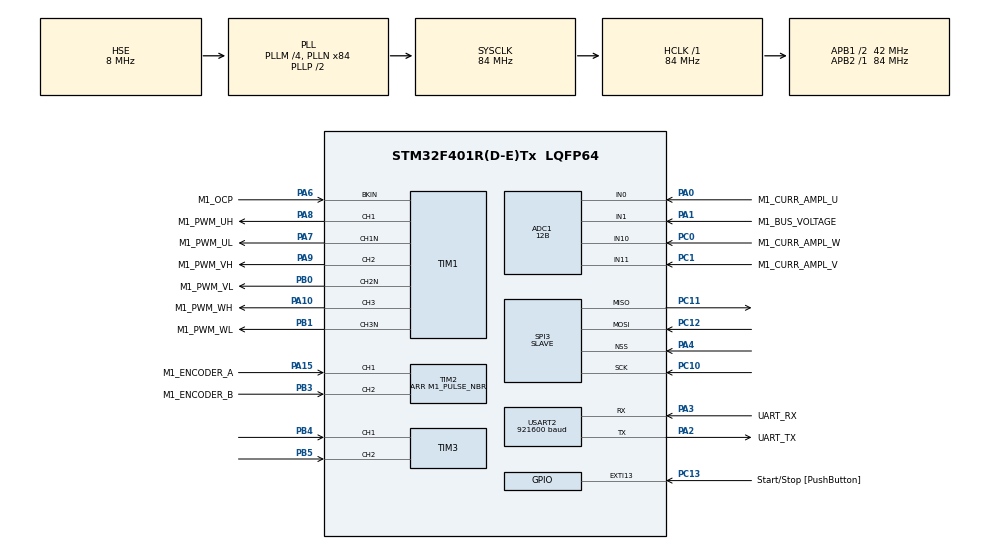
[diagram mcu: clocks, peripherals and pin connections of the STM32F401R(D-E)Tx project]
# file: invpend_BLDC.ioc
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ADC1.Channel-1\#ChannelInjectedConversion=ADC_CHANNEL_0
ADC1.Channel-1\#ChannelRegularConversion=ADC_CHANNEL_1
ADC1.Channel-2\#ChannelInjectedConversion=ADC_CHANNEL_11
ADC1.Channel-3\#ChannelInjectedConversion=ADC_CHANNEL_10
ADC1.ClockPrescaler=ADC_CLOCK_SYNC_PCLK_DIV4
ADC1.ContinuousConvMode=DISABLE
ADC1.DMAContinuousRequests=DISABLE
ADC1.DataAlign=ADC_DATAALIGN_LEFT
ADC1.DiscontinuousConvMode=DISABLE
ADC1.EOCSelection=ADC_EOC_SINGLE_CONV
ADC1.EnableAnalogWatchDog=false
ADC1.EnableInjectedConversion=ENABLE
ADC1.EnableRegularConversion=ENABLE
ADC1.ExternalTrigConv=ADC_SOFTWARE_START
ADC1.ExternalTrigConvEdge=ADC_EXTERNALTRIGCONVEDGE_NONE
ADC1.ExternalTrigInjecConv=ADC_EXTERNALTRIGINJECCONV_T1_CC4
ADC1.ExternalTrigInjecConvEdge=ADC_EXTERNALTRIGINJECCONVEDGE_RISING
ADC1.InjNumberOfConversion=3
ADC1.InjectedConvMode=None
ADC1.InjectedOffset-1\#ChannelInjectedConversion=0
ADC1.InjectedOffset-2\#ChannelInjectedConversion=0
ADC1.InjectedOffset-3\#ChannelInjectedConversion=0
ADC1.InjectedRank-1\#ChannelInjectedConversion=1
ADC1.InjectedRank-2\#ChannelInjectedConversion=2
ADC1.InjectedRank-3\#ChannelInjectedConversion=3
ADC1.NbrOfConversion=1
ADC1.NbrOfConversionFlag=1
ADC1.Offset-1\#ChannelRegularConversion=0
ADC1.OffsetNumber-1\#ChannelRegularConversion=ADC_OFFSET_NONE
ADC1.Rank-1\#ChannelRegularConversion=1
ADC1.Resolution=ADC_RESOLUTION_12B
ADC1.SamplingTime-1\#ChannelInjectedConversion=ADC_SAMPLETIME_15CYCLES
ADC1.SamplingTime-1\#ChannelRegularConversion=ADC_SAMPLETIME_28CYCLES
ADC1.SamplingTime-2\#ChannelInjectedConversion=ADC_SAMPLETIME_15CYCLES
ADC1.SamplingTime-3\#ChannelInjectedConversion=ADC_SAMPLETIME_15CYCLES
ADC1.ScanConvMode=ENABLE
ADC1.master=1
Dma.Request0=USART2_RX
Dma.Request1=USART2_TX
Dma.Request2=SPI3_RX
Dma.Request3=SPI3_TX
Dma.SPI3_RX.2.Direction=DMA_PERIPH_TO_MEMORY
Dma.SPI3_RX.2.FIFOMode=DMA_FIFOMODE_DISABLE
Dma.SPI3_RX.2.Instance=DMA1_Stream0
Dma.SPI3_RX.2.MemDataAlignment=DMA_MDATAALIGN_BYTE
Dma.SPI3_RX.2.MemInc=DMA_MINC_ENABLE
Dma.SPI3_RX.2.Mode=DMA_CIRCULAR
Dma.SPI3_RX.2.PeriphDataAlignment=DMA_PDATAALIGN_BYTE
Dma.SPI3_RX.2.PeriphInc=DMA_PINC_DISABLE
Dma.SPI3_RX.2.Priority=DMA_PRIORITY_VERY_HIGH
Dma.SPI3_TX.3.Direction=DMA_MEMORY_TO_PERIPH
Dma.SPI3_TX.3.FIFOMode=DMA_FIFOMODE_DISABLE
Dma.SPI3_TX.3.Instance=DMA1_Stream7
Dma.SPI3_TX.3.MemDataAlignment=DMA_MDATAALIGN_BYTE
Dma.SPI3_TX.3.MemInc=DMA_MINC_ENABLE
Dma.SPI3_TX.3.Mode=DMA_CIRCULAR
Dma.SPI3_TX.3.PeriphDataAlignment=DMA_PDATAALIGN_BYTE
Dma.SPI3_TX.3.PeriphInc=DMA_PINC_DISABLE
Dma.SPI3_TX.3.Priority=DMA_PRIORITY_VERY_HIGH
Dma.USART2_RX.0.Direction=DMA_PERIPH_TO_MEMORY
Dma.USART2_RX.0.FIFOMode=DMA_FIFOMODE_DISABLE
Dma.USART2_RX.0.Instance=DMA1_Stream5
Dma.USART2_RX.0.MemDataAlignment=DMA_MDATAALIGN_BYTE
Dma.USART2_RX.0.MemInc=DMA_MINC_ENABLE
Dma.USART2_RX.0.Mode=DMA_NORMAL
Dma.USART2_RX.0.PeriphDataAlignment=DMA_PDATAALIGN_BYTE
Dma.USART2_RX.0.PeriphInc=DMA_PINC_DISABLE
Dma.USART2_RX.0.Priority=DMA_PRIORITY_LOW
Dma.USART2_TX.1.Direction=DMA_MEMORY_TO_PERIPH
Dma.USART2_TX.1.FIFOMode=DMA_FIFOMODE_DISABLE
Dma.USART2_TX.1.Instance=DMA1_Stream6
Dma.USART2_TX.1.MemDataAlignment=DMA_MDATAALIGN_BYTE
Dma.USART2_TX.1.MemInc=DMA_MINC_ENABLE
Dma.USART2_TX.1.Mode=DMA_NORMAL
Dma.USART2_TX.1.PeriphDataAlignment=DMA_PDATAALIGN_BYTE
Dma.USART2_TX.1.PeriphInc=DMA_PINC_DISABLE
Dma.USART2_TX.1.Priority=DMA_PRIORITY_LOW
ExtraMW=MotorControl
ExtraMW.MotorControl.Config=MotorControl
ExtraMW.MotorControl.Mode=MotorControl
ExtraMW.MotorControl.Root=MCSDK_v6.4.1-Full/MotorControl
ExtraMW.MotorControl.Template=templates
Mcu.Family=STM32F4
Mcu.Name=STM32F401R(D-E)Tx
Mcu.Package=LQFP64
MotorControl.ADC_AHBPERIPH=RCC_AHBPeriph_ADC1
MotorControl.ADC_CLOCK_WB_DIV=1
MotorControl.ADC_PERIPH=ADC1
MotorControl.ADC_REFERENCE_VOLTAGE=3.3
MotorControl.BOARD=NUCLEO-F401RE
MotorControl.BUS_VOLTAGE_READING=true
MotorControl.CCMRAM_ENABLED=false
MotorControl.CLOCK_FREQUENCY=CPU_CLK_84_MHZ
MotorControl.CLOCK_SOURCE=EXTERNAL
MotorControl.CPU_CLK_84_MHZ=true
MotorControl.CTLBOARD_NAME=NUCLEO-F401RE
MotorControl.CUBE_MX_VER=6.16.1
MotorControl.CURRENT_READING_TOPOLOGY=THREE_SHUNT
MotorControl.CURR_SAMPLING_TIME=15
MotorControl.DBG_MCU_LOAD_MEASURE=false
MotorControl.DEBUG_DAC_FUNCTIONALITY_EN=false
MotorControl.DRIVES_NUMBER_SELECTION=SINGLEDRIVE
MotorControl.DRIVE_NUMBER=1
MotorControl.DRIVE_TYPE=FOC
MotorControl.EMERGENCY_STOP_GPIO_PIN=LL_GPIO_PIN_6
MotorControl.EMERGENCY_STOP_GPIO_PORT=GPIOA
MotorControl.ENCODER=true
MotorControl.ENCODER_AVAILABLE=true
MotorControl.ENCODER_PPR=2048
MotorControl.ENC_A_GPIO_PIN=LL_GPIO_PIN_15
MotorControl.ENC_A_GPIO_PORT=GPIOA
MotorControl.ENC_B_GPIO_PIN=LL_GPIO_PIN_3
MotorControl.ENC_B_GPIO_PORT=GPIOB
MotorControl.ENC_ICx_FILTER=59
MotorControl.ENC_INVERT_SPEED=false
MotorControl.ENC_TIMER_SELECTION=ENC_TIM2
MotorControl.ENC_USE_CH3=false
MotorControl.EXT_CLK_8_MHZ=true
MotorControl.EXT_CLOCK_FREQUENCY=EXT_CLK_8_MHZ
MotorControl.FEEDBACK_NET_FILTERING=false
MotorControl.FLASH_SIZE=512
MotorControl.HALL_SENSORS_AVAILABLE=true
MotorControl.HIGH_SIDE_IDLE_STATE=false
MotorControl.HWV_CS=ThreeShunt_AmplifiedCurrents
MotorControl.HWV_OCP=OnPowerStageOCP
MotorControl.HWV_PWM=DrivingHighAndLowSides
MotorControl.HW_COMPLEMENTED_LOW_SIDE=false
MotorControl.HW_DEAD_TIME_NS=1000
MotorControl.IPs=NVIC,RCC,SYS,MotorControl,ADC1,TIM1,TIM2,USART2,DMA
MotorControl.LOW_MEMORY_FOOTPRINT_REG=false
MotorControl.LOW_SIDE_IDLE_STATE=false
MotorControl.LOW_SIDE_SIGNALS_ENABLING=LS_PWM_TIMER
MotorControl.M1_ALIGNMENT_ANGLE_DEG=90
MotorControl.M1_ALIGNMENT_DURATION=700
MotorControl.M1_AMPLIFICATION_GAIN=5.18
MotorControl.M1_ANGC={0,0,0,0,0,0,0,0}
MotorControl.M1_AUXILIARY_SPEED_SENSOR=NONE
MotorControl.M1_BOARD_MAX_CURRENT=5
MotorControl.M1_BUS_VOLTAGE_READING=true
MotorControl.M1_COMMUTATION_STEP_TIME_BUF_SIZE=12
MotorControl.M1_CONSTANT1_D=124371
MotorControl.M1_CONSTANT1_Q=124371
MotorControl.M1_CONSTANT2_QD=9357
MotorControl.M1_CS_ADC_NUM=1
MotorControl.M1_CS_ADC_PHASE_SHARED=NONE
MotorControl.M1_CS_ADC_U=ADC1
MotorControl.M1_CS_ADC_V=ADC1
MotorControl.M1_CS_ADC_W=ADC1
MotorControl.M1_CS_CHANNEL_U=0
MotorControl.M1_CS_CHANNEL_V=11
MotorControl.M1_CS_CHANNEL_W=10
MotorControl.M1_CURRENT_AMPLIFICATION_TOPO=EXTERNAL
MotorControl.M1_CURRENT_SENSING_TOPO=THREE_SHUNT
MotorControl.M1_CURR_SAMPLING_TIME=15
MotorControl.M1_DBG_OPEN_LOOP_ENABLE=false
MotorControl.M1_DC_CURRENT_RS_MEAS=5
MotorControl.M1_DEFAULT_CONTROL_MODE=STC_TORQUE_MODE
MotorControl.M1_DEFAULT_FLUX_COMPONENT=0
MotorControl.M1_DEFAULT_TARGET_SPEED_RPM=72
MotorControl.M1_DEFAULT_TORQUE_COMPONENT=0
MotorControl.M1_DISCONTINUOUS_PWM=false
MotorControl.M1_DP_TOPOLOGY=NONE
MotorControl.M1_DRIVE_TYPE=FOC
MotorControl.M1_ENCODER_PPR=2048
MotorControl.M1_ENC_AVERAGING_FIFO_DEPTH=16
MotorControl.M1_ENC_A_GPIO_PIN=LL_GPIO_PIN_15
MotorControl.M1_ENC_A_GPIO_PORT=GPIOA
MotorControl.M1_ENC_B_GPIO_PIN=LL_GPIO_PIN_3
MotorControl.M1_ENC_B_GPIO_PORT=GPIOB
MotorControl.M1_ENC_ICx_FILTER=59
MotorControl.M1_ENC_TIMER_IRQ=TIM2
MotorControl.M1_ENC_TIMER_SELECTION=ENC_TIM2
MotorControl.M1_ENC_USE_CH3=false
MotorControl.M1_FEED_FORWARD_CURRENT_REG_ENABLING=false
MotorControl.M1_FINAL_I_ALIGNMENT=5
MotorControl.M1_FLUX_WEAKENING_ENABLING=false
MotorControl.M1_FW_KIDIV=32768
MotorControl.M1_FW_KI_GAIN=5000
MotorControl.M1_FW_KPDIV=32768
MotorControl.M1_FW_KP_GAIN=3000
MotorControl.M1_FW_VOLTAGE_REF=985
MotorControl.M1_HALL_PHASE_SHIFT=300
MotorControl.M1_HALL_SENSORS_PLACEMENT=DEGREES_120
MotorControl.M1_HIGH_SIDE_IDLE_STATE=false
MotorControl.M1_HW_DEAD_TIME_NS=1000
MotorControl.M1_ICL_ENABLED=false
MotorControl.M1_ID_DEMAG=-5
MotorControl.M1_IQMAX=5
MotorControl.M1_LDLQ_RATIO=1.000
MotorControl.M1_LOW_SIDE_IDLE_STATE=false
MotorControl.M1_LOW_SIDE_SIGNALS_ENABLING=LS_PWM_TIMER
MotorControl.M1_LS=0.00015
MotorControl.M1_MAX_APPLICATION_SPEED=200
MotorControl.M1_MAX_MODULATION_INDEX=94
MotorControl.M1_MIN_APPLICATION_SPEED=0
MotorControl.M1_MOTOR_MAX_SPEED_RPM=200
MotorControl.M1_MOTOR_NAME=MAXON Flat EC 42 M
MotorControl.M1_MOTOR_RATED_FLUX=0.018064987
MotorControl.M1_MOTOR_VOLTAGE_CONSTANT=3.0
MotorControl.M1_MTPA_ENABLING=false
MotorControl.M1_NOMINAL_BUS_VOLTAGE_V=24
MotorControl.M1_NOMINAL_CURRENT=5
MotorControl.M1_OCP_BKIN_FILTER=3
MotorControl.M1_OCP_BKIN_MODE=EXT_MODE
MotorControl.M1_OCP_BKIN_POLARITY=EMSTOP_ACTIVE_LOW
MotorControl.M1_OCP_DESTINATION=TIM_BKIN
MotorControl.M1_OCP_TOPOLOGY=EXTERNAL
MotorControl.M1_OFST={0,0,0,0,0,0,0,0}
MotorControl.M1_ON_OVER_VOLTAGE=TURN_OFF_PWM
MotorControl.M1_OVERMODULATION=false
MotorControl.M1_OVP_THRESHOLD_HIGH=29
MotorControl.M1_OV_VOLTAGE_PROT_ENABLING=true
MotorControl.M1_OV_VOLTAGE_THRESHOLD_V=29
MotorControl.M1_PID_FLUX_KD_DEFAULT=100
MotorControl.M1_PID_FLUX_KI_DEFAULT=3750
MotorControl.M1_PID_FLUX_KP_DEFAULT=2446
MotorControl.M1_PID_SPEED_KD_DEFAULT=0
MotorControl.M1_PID_SPEED_KI_DEFAULT=636
MotorControl.M1_PID_SPEED_KP_DEFAULT=3512
MotorControl.M1_PID_TORQUE_KD_DEFAULT=100
MotorControl.M1_PID_TORQUE_KI_DEFAULT=3750
MotorControl.M1_PID_TORQUE_KP_DEFAULT=2446
MotorControl.M1_POLE_PAIR_NUM=8
MotorControl.M1_POSITION_CTRL_ENABLING=false
MotorControl.M1_POTENTIOMETER_ENABLE=false
MotorControl.M1_POWERBOARD_NAME=X-NUCLEO-IHM08M1
MotorControl.M1_PWM_CHARGE_BOOT_CAP_DUTY_CYCLES=0.000
MotorControl.M1_PWM_CHARGE_BOOT_CAP_MS=10
MotorControl.M1_PWM_DRIVER_PN=L6398
MotorControl.M1_PWM_FREQUENCY=16000
MotorControl.M1_PWM_TIMER_BRK_IRQ=TIM1_BRK_TIM9
MotorControl.M1_PWM_TIMER_SELECTION=PWM_TIM1
MotorControl.M1_PWM_TIMER_UP_IRQ=TIM1_UP_TIM10
MotorControl.M1_REGULATION_EXECUTION_RATE=1
MotorControl.M1_RS=0.23
MotorControl.M1_RSHUNT=0.01
MotorControl.M1_SEGDIV=0
MotorControl.M1_SHARED_SIGNAL_ENABLE=false
MotorControl.M1_SPD_DIFFERENTIAL_TERM_ENABLING=false
MotorControl.M1_SPEED_LOOP_FREQUENCY_HZ=1000
MotorControl.M1_SPEED_SENSOR=QUAD_ENCODER
MotorControl.M1_SP_KDDIV=16
MotorControl.M1_SP_KIDIV=16384
MotorControl.M1_SP_KPDIV=128
MotorControl.M1_SS_MEAS_ERRORS_BEFORE_FAULTS=3
MotorControl.M1_SW_DEADTIME_NS=850
MotorControl.M1_TEMPERATURE_READING=false
MotorControl.M1_TF_KDDIV=8192
MotorControl.M1_TF_KIDIV=16384
MotorControl.M1_TF_KPDIV=1024
MotorControl.M1_TNOISE_NS=1000
MotorControl.M1_TRISE_NS=1000
MotorControl.M1_UD_VOLTAGE_THRESHOLD_V=10
MotorControl.M1_USE_INTERNAL_OPAMP=false
MotorControl.M1_UV_VOLTAGE_PROT_ENABLING=true
MotorControl.M1_VBUS_ADC=ADC1
MotorControl.M1_VBUS_ADC_SAMPLING_TIME=28
MotorControl.M1_VBUS_CHANNEL=ADC_CHANNEL_1
MotorControl.M1_VBUS_PARTITIONING_FACTOR=0.052164840897235255
MotorControl.MAX_READABLE_CURRENT=31.845
MotorControl.MCPA_OVER_UART_A_STREAM=10
MotorControl.MCP_ASPEP_OVER_UART=true
MotorControl.MCP_ASYNC_EN=true
MotorControl.MCP_ASYNC_OVER_ASPEP_EN=true
MotorControl.MCP_ASYNC_OVER_UART_A_EN=true
MotorControl.MCP_DMACH_RX_UART_A=5
MotorControl.MCP_DMACH_TX_UART_A=6
MotorControl.MCP_DMA_RX_UART_A=DMA1
MotorControl.MCP_DMA_TX_UART_A=DMA1
MotorControl.MCP_EN=true
MotorControl.MCP_IRQ_HANDLER_DMA_RX_UART_A=DMA1_Stream5_IRQHandler
MotorControl.MCP_IRQ_HANDLER_UART_A=USART2_IRQHandler
MotorControl.MCP_OVER_ASPEP_EN=true
MotorControl.MCP_OVER_STLNK_EN=false
MotorControl.MCP_OVER_UART_A_EN=true
MotorControl.MCP_OVER_UART_B_EN=false
MotorControl.MCP_RX_SYNC_PAYLOAD_MAX=128
MotorControl.MCP_TX_ASYNC_PAYLOAD_MAX_UART_A=2048
MotorControl.MCP_TX_SYNC_PAYLOAD_MAX=128
MotorControl.MCU=STM32F401RE
MotorControl.MCU_FAMILY=STM32F4
MotorControl.MCU_LINE=STM32F401
MotorControl.MCU_NAME=STM32F401R(D-E)Tx
MotorControl.MCU_PACKAGE=LQFP64
MotorControl.MCU_TYPE=STM32F401RE
MotorControl.MCU_USERNAME=STM32F401RETx
MotorControl.MC_WORKBENCH_VERSION=6.4.1
MotorControl.MOTOR_PROFILER=false
MotorControl.MOTOR_TYPE=PMSM
MotorControl.ON_OVER_VOLTAGE=TURN_OFF_PWM
MotorControl.OV_VOLTAGE_PROT_ENABLING=true
MotorControl.PHASE_UH_GPIO_PIN=LL_GPIO_PIN_8
MotorControl.PHASE_UH_GPIO_PORT=GPIOA
MotorControl.PHASE_UH_POLARITY=H_ACTIVE_HIGH
MotorControl.PHASE_UL_GPIO_PIN=LL_GPIO_PIN_7
MotorControl.PHASE_UL_GPIO_PORT=GPIOA
MotorControl.PHASE_UL_POLARITY=L_ACTIVE_LOW
MotorControl.PHASE_U_CURR_ADC=ADC1
MotorControl.PHASE_U_CURR_CHANNEL=ADC_CHANNEL_0
MotorControl.PHASE_U_GPIO_PIN=LL_GPIO_PIN_0
MotorControl.PHASE_U_GPIO_PORT=GPIOA
MotorControl.PHASE_U_PWM_CHANNEL=TIM_Channel_1
MotorControl.PHASE_VH_GPIO_PIN=LL_GPIO_PIN_9
MotorControl.PHASE_VH_GPIO_PORT=GPIOA
MotorControl.PHASE_VH_POLARITY=H_ACTIVE_HIGH
MotorControl.PHASE_VL_GPIO_PIN=LL_GPIO_PIN_0
MotorControl.PHASE_VL_GPIO_PORT=GPIOB
MotorControl.PHASE_VL_POLARITY=L_ACTIVE_LOW
MotorControl.PHASE_V_CURR_ADC=ADC1
MotorControl.PHASE_V_CURR_CHANNEL=ADC_CHANNEL_11
MotorControl.PHASE_V_GPIO_PIN=LL_GPIO_PIN_1
MotorControl.PHASE_V_GPIO_PORT=GPIOC
MotorControl.PHASE_V_PWM_CHANNEL=TIM_Channel_2
MotorControl.PHASE_WH_GPIO_PIN=LL_GPIO_PIN_10
MotorControl.PHASE_WH_GPIO_PORT=GPIOA
MotorControl.PHASE_WH_POLARITY=H_ACTIVE_HIGH
MotorControl.PHASE_WL_GPIO_PIN=LL_GPIO_PIN_1
MotorControl.PHASE_WL_GPIO_PORT=GPIOB
MotorControl.PHASE_WL_POLARITY=L_ACTIVE_LOW
MotorControl.PHASE_W_CURR_ADC=ADC1
MotorControl.PHASE_W_CURR_CHANNEL=ADC_CHANNEL_10
MotorControl.PHASE_W_GPIO_PIN=LL_GPIO_PIN_0
MotorControl.PHASE_W_GPIO_PORT=GPIOC
MotorControl.PHASE_W_PWM_CHANNEL=TIM_Channel_3
MotorControl.POTENTIOMETER_READING=false
MotorControl.PWM_FREQUENCY=16000
MotorControl.PWM_TIMER_SELECTION=PWM_TIM1
MotorControl.REGULATION_EXECUTION_RATE=1
MotorControl.RTOS=NONE
MotorControl.R_BRAKE_SWITCH_OFF_THRES_V=23
MotorControl.SINGLEDRIVE=true
MotorControl.SPD_DIFFERENTIAL_TERM_ENABLING=false
MotorControl.SPEED_SENSOR_SELECTION=ENCODER
MotorControl.START_STOP_BTN=true
MotorControl.START_STOP_GPIO_IRQ=EXTI15_10
MotorControl.START_STOP_GPIO_PIN=LL_GPIO_PIN_13
MotorControl.START_STOP_GPIO_PORT=GPIOC
MotorControl.START_STOP_POLARITY=DIN_ACTIVE_LOW
MotorControl.START_STOP_POLARITY_EDGE=GPIO_NOPULL
MotorControl.STM32F401RE=true
MotorControl.SW_DEADTIME_NS=850
MotorControl.TEMPERATURE_READING=false
MotorControl.TFDIFFERENTIAL_TERM_ENABLING=false
MotorControl.THREE_SHUNT=true
MotorControl.TRISE_NS=1000
MotorControl.USART_RX_GPIO_PIN=LL_GPIO_PIN_3
MotorControl.USART_RX_GPIO_PORT=GPIOA
MotorControl.USART_SELECTION=USE_USART2
MotorControl.USART_SELECTION_A=USART2
MotorControl.USART_SPEED=921600
MotorControl.USART_TX_GPIO_PIN=LL_GPIO_PIN_2
MotorControl.USART_TX_GPIO_PORT=GPIOA
MotorControl.USE_3OPAMPS=false
MotorControl.USE_INTERNAL_OPAMP=false
MotorControl.UV_VOLTAGE_PROT_ENABLING=true
MotorControl.VBUS_ADC=ADC1
MotorControl.VBUS_ADC_SAMPLING_TIME=28
MotorControl.VBUS_CHANNEL=ADC_CHANNEL_1
MotorControl.VBUS_GPIO_PIN=LL_GPIO_PIN_1
MotorControl.VBUS_GPIO_PORT=GPIOA
MotorControl.WB_MX_HEAPSIZE=0x200
MotorControl.WB_MX_STACKSIZE=0x400
MotorControl.WB_MX_TRUSTZONE_AVAILABLE=false
MotorControl.WB_UI_CUTOFF_FREQUENCY=6000
MotorControl.WB_UI_ENCODER_HAS_INDEX_PIN=false
MotorControl.WB_UI_FLUX_TARGET=0
MotorControl.WB_UI_FRICTION=12.2
MotorControl.WB_UI_INERTIA=8.62
MotorControl.WB_UI_MAGNETIC_STRUCTURE=SM-PMSM
MotorControl.WB_UI_MAX_CURRENT=5
MotorControl.WB_UI_MAX_NOMINAL_DC_VOLTAGE=24
MotorControl.WB_UI_MAX_PWMFREQUENCY=100000
MotorControl.WB_UI_MOTOR_DESCRIPTION=brushless DC motor with encoder
MotorControl.WB_UI_OCP_DISABLING_ENABLE=false
MotorControl.WB_UI_OCP_THRESHOLD=30
MotorControl.WB_UI_PW_BOARD_MAX_RATED_CURRENT=30
MotorControl.WB_UI_PW_BOARD_MAX_VOLTAGE=48
MotorControl.WB_UI_PW_BOARD_MIN_VOLTAGE=10
MotorControl.WB_UI_VPOL=1.71
MotorControl.WB_to_Mx_template_version=25-05-06
MotorControl.WB_to_Mx_version=6.4.1-RC1-Full
NVIC.ADC_IRQn=true\:2\:0\:true\:true\:false\:3\:false\:true\:true
NVIC.DMA1_Stream0_IRQn=true\:0\:0\:false\:false\:true\:true\:true\:true
NVIC.DMA1_Stream5_IRQn=true\:3\:0\:true\:true\:false\:2\:true\:true\:true
NVIC.DMA1_Stream7_IRQn=true\:0\:0\:false\:false\:true\:true\:true\:true
NVIC.EXTI15_10_IRQn=true\:3\:0\:false\:true\:false\:7\:true\:true\:true
NVIC.PriorityGroup=NVIC_PRIORITYGROUP_3
NVIC.TIM1_BRK_TIM9_IRQn=true\:4\:1\:false\:true\:false\:5\:true\:true\:true
NVIC.TIM1_UP_TIM10_IRQn=true\:0\:0\:false\:true\:false\:4\:true\:true\:true
NVIC.TIM2_IRQn=true\:3\:0\:false\:true\:false\:6\:true\:true\:true
NVIC.USART2_IRQn=true\:3\:1\:true\:true\:false\:1\:true\:true\:true
PA0-WKUP.GPIO_Label=M1_CURR_AMPL_U
PA0-WKUP.Signal=ADCx_IN0
PA1.GPIO_Label=M1_BUS_VOLTAGE
PA1.Signal=ADCx_IN1
PA10.GPIO_Label=M1_PWM_WH
PA10.GPIO_PuPd=GPIO_PULLDOWN
PA10.GPIO_Speed=GPIO_SPEED_FREQ_HIGH
PA10.Signal=S_TIM1_CH3
PA15.GPIO_Label=M1_ENCODER_A
PA15.Signal=S_TIM2_CH1_ETR
PA2.GPIO_Label=UART_TX
PA2.GPIO_Mode=GPIO_MODE_AF_PP
PA2.GPIO_PuPd=GPIO_NOPULL
PA2.GPIO_Speed=GPIO_SPEED_FREQ_LOW
PA2.Mode=Asynchronous
PA2.Signal=USART2_TX
PA3.GPIO_Label=UART_RX
PA3.GPIO_Mode=GPIO_MODE_AF_PP
PA3.GPIO_PuPd=GPIO_NOPULL
PA3.GPIO_Speed=GPIO_SPEED_FREQ_LOW
PA3.Mode=Asynchronous
PA3.Signal=USART2_RX
PA4.Mode=NSS_Signal_Hard_Input
PA4.Signal=SPI3_NSS
PA6.GPIO_Label=M1_OCP
PA6.GPIO_PuPd=GPIO_PULLUP
PA6.Mode=Activate-Break-Input
PA6.Signal=TIM1_BKIN
PA7.GPIO_Label=M1_PWM_UL
PA7.GPIO_PuPd=GPIO_PULLUP
PA7.GPIO_Speed=GPIO_SPEED_FREQ_HIGH
PA7.Mode=PWM Generation1 CH1 CH1N
PA7.Signal=TIM1_CH1N
PA8.GPIO_Label=M1_PWM_UH
PA8.GPIO_PuPd=GPIO_PULLDOWN
PA8.GPIO_Speed=GPIO_SPEED_FREQ_HIGH
PA8.Signal=S_TIM1_CH1
PA9.GPIO_Label=M1_PWM_VH
PA9.GPIO_PuPd=GPIO_PULLDOWN
PA9.GPIO_Speed=GPIO_SPEED_FREQ_HIGH
PA9.Signal=S_TIM1_CH2
PB0.GPIO_Label=M1_PWM_VL
PB0.GPIO_PuPd=GPIO_PULLUP
PB0.GPIO_Speed=GPIO_SPEED_FREQ_HIGH
PB0.Mode=PWM Generation2 CH2 CH2N
PB0.Signal=TIM1_CH2N
PB1.GPIO_Label=M1_PWM_WL
PB1.GPIO_PuPd=GPIO_PULLUP
PB1.GPIO_Speed=GPIO_SPEED_FREQ_HIGH
PB1.Mode=PWM Generation3 CH3 CH3N
PB1.Signal=TIM1_CH3N
PB3.GPIO_Label=M1_ENCODER_B
PB3.Signal=S_TIM2_CH2
PB4.GPIO_PuPd=GPIO_PULLUP
PB4.Signal=S_TIM3_CH1
PB5.GPIO_PuPd=GPIO_PULLUP
PB5.Signal=S_TIM3_CH2
PC0.GPIO_Label=M1_CURR_AMPL_W
PC0.Signal=ADCx_IN10
PC1.GPIO_Label=M1_CURR_AMPL_V
PC1.Signal=ADCx_IN11
PC10.Mode=Full_Duplex_Slave
PC10.Signal=SPI3_SCK
PC11.Mode=Full_Duplex_Slave
PC11.Signal=SPI3_MISO
PC12.Mode=Full_Duplex_Slave
PC12.Signal=SPI3_MOSI
PC13-ANTI_TAMP.GPIO_Label=Start/Stop [PushButton]
PC13-ANTI_TAMP.GPIO_ModeDefaultEXTI=GPIO_MODE_IT_FALLING
PC13-ANTI_TAMP.GPIO_PuPd=GPIO_NOPULL
PC13-ANTI_TAMP.Signal=GPXTI13
PH0\ -\ OSC_IN.Mode=HSE-External-Oscillator
PH0\ -\ OSC_IN.Signal=RCC_OSC_IN
PH1\ -\ OSC_OUT.Mode=HSE-External-Oscillator
PH1\ -\ OSC_OUT.Signal=RCC_OSC_OUT
ProjectManager.HeapSize=0x200
ProjectManager.StackSize=0x400
ProjectManager.TargetToolchain=CMake
RCC.48MHZClocksFreq_Value=42000000
RCC.AHBFreq_Value=84000000
RCC.APB1CLKDivider=RCC_HCLK_DIV2
RCC.APB1Freq_Value=42000000
RCC.APB1TimFreq_Value=84000000
RCC.APB2Freq_Value=84000000
RCC.APB2TimFreq_Value=84000000
RCC.CortexFreq_Value=84000000
RCC.EnbaleCSS=true
RCC.HCLKFreq_Value=84000000
RCC.HSE_VALUE=8000000
RCC.HSI_VALUE=16000000
RCC.LSE_VALUE=32768
RCC.PLLM=4
RCC.PLLN=84
RCC.PLLSourceVirtual=RCC_PLLSOURCE_HSE
RCC.PREFETCH_ENABLE=1
RCC.SYSCLKFreq_VALUE=84000000
RCC.SYSCLKSource=RCC_SYSCLKSOURCE_PLLCLK
RCC.VCOOutputFreq_Value=168000000
SH.ADCx_IN0.0=ADC1_IN0,IN0
SH.ADCx_IN1.0=ADC1_IN1,IN1
SH.ADCx_IN10.0=ADC1_IN10,IN10
SH.ADCx_IN11.0=ADC1_IN11,IN11
SH.S_TIM1_CH1.0=TIM1_CH1,PWM Generation1 CH1 CH1N
SH.S_TIM1_CH2.0=TIM1_CH2,PWM Generation2 CH2 CH2N
SH.S_TIM1_CH3.0=TIM1_CH3,PWM Generation3 CH3 CH3N
SH.S_TIM2_CH1_ETR.0=TIM2_CH1,Encoder_Interface
SH.S_TIM2_CH2.0=TIM2_CH2,Encoder_Interface
SH.S_TIM3_CH1.0=TIM3_CH1,Encoder_Interface
SH.S_TIM3_CH2.0=TIM3_CH2,Encoder_Interface
SPI3.Direction=SPI_DIRECTION_2LINES
SPI3.Mode=SPI_MODE_SLAVE
SPI3.VirtualNSS=VM_NSSHARD
SPI3.VirtualType=VM_SLAVE
TIM1.AutoReloadPreload=TIM_AUTORELOAD_PRELOAD_DISABLE
TIM1.AutomaticOutput=TIM_AUTOMATICOUTPUT_DISABLE
TIM1.BreakPolarity=TIM_BREAKPOLARITY_LOW
TIM1.BreakState=TIM_BREAK_ENABLE
TIM1.Channel-PWM\ Generation1\ CH1\ CH1N=TIM_CHANNEL_1
TIM1.Channel-PWM\ Generation2\ CH2\ CH2N=TIM_CHANNEL_2
TIM1.Channel-PWM\ Generation3\ CH3\ CH3N=TIM_CHANNEL_3
TIM1.Channel-PWM\ Generation4\ No\ Output=TIM_CHANNEL_4
TIM1.ClearInputSource=TIM_CLEARINPUTSOURCE_NONE
TIM1.ClockDivision=TIM_CLOCKDIVISION_DIV2
TIM1.CounterMode=TIM_COUNTERMODE_CENTERALIGNED1
TIM1.DeadTime=((DEAD_TIME_COUNTS) / 2)
TIM1.LockLevel=TIM_LOCKLEVEL_OFF
TIM1.OC1Preload_PWM=ENABLE
TIM1.OC2Preload_PWM=ENABLE
TIM1.OC3Preload_PWM=ENABLE
TIM1.OC4Preload_PWM=ENABLE
TIM1.OCIdleState_1=TIM_OCIDLESTATE_RESET
TIM1.OCIdleState_2=TIM_OCIDLESTATE_RESET
TIM1.OCIdleState_3=TIM_OCIDLESTATE_RESET
TIM1.OCIdleState_4=TIM_OCIDLESTATE_RESET
TIM1.OCMode_PWM-PWM\ Generation1\ CH1\ CH1N=TIM_OCMODE_PWM1
TIM1.OCMode_PWM-PWM\ Generation2\ CH2\ CH2N=TIM_OCMODE_PWM1
TIM1.OCMode_PWM-PWM\ Generation3\ CH3\ CH3N=TIM_OCMODE_PWM1
TIM1.OCMode_PWM-PWM\ Generation4\ No\ Output=TIM_OCMODE_PWM2
TIM1.OCNIdleState_1=TIM_OCNIDLESTATE_SET
TIM1.OCNIdleState_2=TIM_OCNIDLESTATE_SET
TIM1.OCNIdleState_3=TIM_OCNIDLESTATE_SET
TIM1.OCNPolarity_1=TIM_OCNPOLARITY_LOW
TIM1.OCNPolarity_2=TIM_OCNPOLARITY_LOW
TIM1.OCNPolarity_3=TIM_OCNPOLARITY_LOW
TIM1.OCPolarity_1=TIM_OCPOLARITY_HIGH
TIM1.OCPolarity_2=TIM_OCPOLARITY_HIGH
TIM1.OCPolarity_3=TIM_OCPOLARITY_HIGH
TIM1.OCPolarity_4=TIM_OCPOLARITY_HIGH
TIM1.OffStateIDLEMode=TIM_OSSI_ENABLE
TIM1.OffStateRunMode=TIM_OSSR_ENABLE
TIM1.Period=((PWM_PERIOD_CYCLES) / 2)
TIM1.Prescaler=((TIM_CLOCK_DIVIDER) - 1)
TIM1.Pulse-PWM\ Generation1\ CH1\ CH1N=((PWM_PERIOD_CYCLES) / 4)
TIM1.Pulse-PWM\ Generation2\ CH2\ CH2N=((PWM_PERIOD_CYCLES) / 4)
TIM1.Pulse-PWM\ Generation3\ CH3\ CH3N=((PWM_PERIOD_CYCLES) / 4)
TIM1.Pulse-PWM\ Generation4\ No\ Output=(((PWM_PERIOD_CYCLES) / 2) - (HTMIN))
TIM1.RepetitionCounter=(REP_COUNTER)
TIM1.TIM_MasterOutputTrigger=TIM_TRGO_RESET
TIM1.TIM_MasterSlaveMode=TIM_MASTERSLAVEMODE_DISABLE
TIM2.EncoderMode=TIM_ENCODERMODE_TI12
TIM2.IC1Filter=M1_ENC_IC_FILTER
TIM2.IC1Polarity=TIM_ICPOLARITY_RISING
TIM2.IC2Filter=M1_ENC_IC_FILTER
TIM2.IC2Polarity=TIM_ICPOLARITY_RISING
TIM2.Period=M1_PULSE_NBR
TIM3.EncoderMode=TIM_ENCODERMODE_TI12
USART2.BaudRate=921600
USART2.VirtualMode=VM_ASYNC
USART2.VirtualMode-Asynchronous=VM_ASYNC
USART2.WordLength=WORDLENGTH_8B
VP_MotorControl_MC_ENABLED.Mode=Enabled
VP_TIM1_VS_no_output4.Mode=PWM Generation4 No Output
board=custom

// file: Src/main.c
/* USER CODE BEGIN Header */
/**
  ******************************************************************************
  * @file           : main.c
  * @brief          : Main program body
  ******************************************************************************
  * @attention
  *
  * Copyright (c) 2026 STMicroelectronics.
  * All rights reserved.
  *
  * This software is licensed under terms that can be found in the LICENSE file
  * in the root directory of this software component.
  * If no LICENSE file comes with this software, it is provided AS-IS.
  *
  ******************************************************************************
  */
/* USER CODE END Header */
#include "main.h"

/* USER CODE BEGIN Includes */
#include "pendulum_control.h"
#include "torque_control.h"
#include "chrono.h"
#include "app_config.h"
#include "mc_api.h"
#include "mc_interface.h"
#include <string.h>
#include <stdio.h>
/* USER CODE END Includes */

ADC_HandleTypeDef hadc1;

SPI_HandleTypeDef hspi3;
DMA_HandleTypeDef hdma_spi3_rx;
DMA_HandleTypeDef hdma_spi3_tx;

TIM_HandleTypeDef htim1;
TIM_HandleTypeDef htim2;
TIM_HandleTypeDef htim3;

UART_HandleTypeDef huart2;
DMA_HandleTypeDef hdma_usart2_rx;
DMA_HandleTypeDef hdma_usart2_tx;

void SystemClock_Config(void);
static void MX_GPIO_Init(void);
static void MX_DMA_Init(void);
static void MX_ADC1_Init(void);
static void MX_TIM1_Init(void);
static void MX_TIM2_Init(void);
static void MX_USART2_UART_Init(void);
static void MX_SPI3_Init(void);
static void MX_TIM3_Init(void);
static void MX_NVIC_Init(void);

int main(void)
{

  /* MCU Configuration--------------------------------------------------------*/

  /* Reset of all peripherals, Initializes the Flash interface and the Systick. */
  HAL_Init();

  /* Configure the system clock */
  SystemClock_Config();

  /* Initialize all configured peripherals */
  MX_GPIO_Init();
  MX_DMA_Init();
  MX_ADC1_Init();
  MX_TIM1_Init();
  MX_TIM2_Init();
  MX_USART2_UART_Init();
  MX_MotorControl_Init();
  MX_SPI3_Init();
  MX_TIM3_Init();

  /* Initialize interrupts */
  MX_NVIC_Init();
  /* USER CODE BEGIN 2 */
  /* Initialize pendulum control subsystem */
  Pendulum_Init();

  /* Start TIM3 encoder for pendulum */
  HAL_TIM_Encoder_Start(&htim3, TIM_CHANNEL_ALL);

  /* Start SPI DMA circular communication */
  SPI_StartCommunication();

  /* Startup message to verify UART is working */
  {
    const char *msg = "\r\n=== Inverted Pendulum Started ===\r\n";
    HAL_UART_Transmit(&huart2, (uint8_t *)msg, strlen(msg), 100);
    msg = "Press blue button to start motor torque test\r\n";
    HAL_UART_Transmit(&huart2, (uint8_t *)msg, strlen(msg), 100);
  }
  /* USER CODE END 2 */

  /* Infinite loop */
  while (1)
  {

    /* USER CODE BEGIN 3 */
    /* Run pendulum control state machine */
    StateMachine_Run();
  }
  /* USER CODE END 3 */
}

void SystemClock_Config(void)
{
  RCC_OscInitTypeDef RCC_OscInitStruct = {0};
  RCC_ClkInitTypeDef RCC_ClkInitStruct = {0};

  /** Configure the main internal regulator output voltage
  */
  __HAL_RCC_PWR_CLK_ENABLE();
  __HAL_PWR_VOLTAGESCALING_CONFIG(PWR_REGULATOR_VOLTAGE_SCALE2);

  /** Initializes the RCC Oscillators according to the specified parameters
  * in the RCC_OscInitTypeDef structure.
  */
  RCC_OscInitStruct.OscillatorType = RCC_OSCILLATORTYPE_HSE;
  RCC_OscInitStruct.HSEState = RCC_HSE_ON;
  RCC_OscInitStruct.PLL.PLLState = RCC_PLL_ON;
  RCC_OscInitStruct.PLL.PLLSource = RCC_PLLSOURCE_HSE;
  RCC_OscInitStruct.PLL.PLLM = 4;
  RCC_OscInitStruct.PLL.PLLN = 84;
  RCC_OscInitStruct.PLL.PLLP = RCC_PLLP_DIV2;
  RCC_OscInitStruct.PLL.PLLQ = 4;
  if (HAL_RCC_OscConfig(&RCC_OscInitStruct) != HAL_OK)
  {
    Error_Handler();
  }

  /** Initializes the CPU, AHB and APB buses clocks
  */
  RCC_ClkInitStruct.ClockType = RCC_CLOCKTYPE_HCLK|RCC_CLOCKTYPE_SYSCLK
                              |RCC_CLOCKTYPE_PCLK1|RCC_CLOCKTYPE_PCLK2;
  RCC_ClkInitStruct.SYSCLKSource = RCC_SYSCLKSOURCE_PLLCLK;
  RCC_ClkInitStruct.AHBCLKDivider = RCC_SYSCLK_DIV1;
  RCC_ClkInitStruct.APB1CLKDivider = RCC_HCLK_DIV2;
  RCC_ClkInitStruct.APB2CLKDivider = RCC_HCLK_DIV1;

  if (HAL_RCC_ClockConfig(&RCC_ClkInitStruct, FLASH_LATENCY_2) != HAL_OK)
  {
    Error_Handler();
  }

  /** Enables the Clock Security System
  */
  HAL_RCC_EnableCSS();
}

/**
  * @brief NVIC Configuration.
  * @retval None
  */
static void MX_NVIC_Init(void)
{
  /* USART2_IRQn interrupt configuration */
  HAL_NVIC_SetPriority(USART2_IRQn, 3, 1);
  HAL_NVIC_EnableIRQ(USART2_IRQn);
  /* DMA1_Stream5_IRQn interrupt configuration */
  HAL_NVIC_SetPriority(DMA1_Stream5_IRQn, 3, 0);
  HAL_NVIC_EnableIRQ(DMA1_Stream5_IRQn);
  /* ADC_IRQn interrupt configuration */
  HAL_NVIC_SetPriority(ADC_IRQn, 2, 0);
  HAL_NVIC_EnableIRQ(ADC_IRQn);
  /* TIM1_UP_TIM10_IRQn interrupt configuration */
  HAL_NVIC_SetPriority(TIM1_UP_TIM10_IRQn, 0, 0);
  HAL_NVIC_EnableIRQ(TIM1_UP_TIM10_IRQn);
  /* TIM1_BRK_TIM9_IRQn interrupt configuration */
  HAL_NVIC_SetPriority(TIM1_BRK_TIM9_IRQn, 4, 1);
  HAL_NVIC_EnableIRQ(TIM1_BRK_TIM9_IRQn);
  /* TIM2_IRQn interrupt configuration */
  HAL_NVIC_SetPriority(TIM2_IRQn, 3, 0);
  HAL_NVIC_EnableIRQ(TIM2_IRQn);
  /* EXTI15_10_IRQn interrupt configuration */
  HAL_NVIC_SetPriority(EXTI15_10_IRQn, 3, 0);
  HAL_NVIC_EnableIRQ(EXTI15_10_IRQn);
}

static void MX_ADC1_Init(void)
{

  ADC_InjectionConfTypeDef sConfigInjected = {0};
  ADC_ChannelConfTypeDef sConfig = {0};

  /** Configure the global features of the ADC (Clock, Resolution, Data Alignment and number of conversion)
  */
  hadc1.Instance = ADC1;
  hadc1.Init.ClockPrescaler = ADC_CLOCK_SYNC_PCLK_DIV4;
  hadc1.Init.Resolution = ADC_RESOLUTION_12B;
  hadc1.Init.ScanConvMode = ENABLE;
  hadc1.Init.ContinuousConvMode = DISABLE;
  hadc1.Init.DiscontinuousConvMode = DISABLE;
  hadc1.Init.ExternalTrigConvEdge = ADC_EXTERNALTRIGCONVEDGE_NONE;
  hadc1.Init.ExternalTrigConv = ADC_SOFTWARE_START;
  hadc1.Init.DataAlign = ADC_DATAALIGN_LEFT;
  hadc1.Init.NbrOfConversion = 1;
  hadc1.Init.DMAContinuousRequests = DISABLE;
  hadc1.Init.EOCSelection = ADC_EOC_SINGLE_CONV;
  if (HAL_ADC_Init(&hadc1) != HAL_OK)
  {
    Error_Handler();
  }

  /** Configures for the selected ADC injected channel its corresponding rank in the sequencer and its sample time
  */
  sConfigInjected.InjectedChannel = ADC_CHANNEL_0;
  sConfigInjected.InjectedRank = 1;
  sConfigInjected.InjectedNbrOfConversion = 3;
  sConfigInjected.InjectedSamplingTime = ADC_SAMPLETIME_15CYCLES;
  sConfigInjected.ExternalTrigInjecConvEdge = ADC_EXTERNALTRIGINJECCONVEDGE_RISING;
  sConfigInjected.ExternalTrigInjecConv = ADC_EXTERNALTRIGINJECCONV_T1_CC4;
  sConfigInjected.AutoInjectedConv = DISABLE;
  sConfigInjected.InjectedDiscontinuousConvMode = DISABLE;
  sConfigInjected.InjectedOffset = 0;
  if (HAL_ADCEx_InjectedConfigChannel(&hadc1, &sConfigInjected) != HAL_OK)
  {
    Error_Handler();
  }

  /** Configures for the selected ADC injected channel its corresponding rank in the sequencer and its sample time
  */
  sConfigInjected.InjectedChannel = ADC_CHANNEL_11;
  sConfigInjected.InjectedRank = 2;
  if (HAL_ADCEx_InjectedConfigChannel(&hadc1, &sConfigInjected) != HAL_OK)
  {
    Error_Handler();
  }

  /** Configures for the selected ADC injected channel its corresponding rank in the sequencer and its sample time
  */
  sConfigInjected.InjectedChannel = ADC_CHANNEL_10;
  sConfigInjected.InjectedRank = 3;
  if (HAL_ADCEx_InjectedConfigChannel(&hadc1, &sConfigInjected) != HAL_OK)
  {
    Error_Handler();
  }

  /** Configure for the selected ADC regular channel its corresponding rank in the sequencer and its sample time.
  */
  sConfig.Channel = ADC_CHANNEL_1;
  sConfig.Rank = 1;
  sConfig.SamplingTime = ADC_SAMPLETIME_28CYCLES;
  sConfig.Offset = 0;

  if (HAL_ADC_ConfigChannel(&hadc1, &sConfig) != HAL_OK)
  {
    Error_Handler();
  }

}

static void MX_SPI3_Init(void)
{

  /* SPI3 parameter configuration*/
  hspi3.Instance = SPI3;
  hspi3.Init.Mode = SPI_MODE_SLAVE;
  hspi3.Init.Direction = SPI_DIRECTION_2LINES;
  hspi3.Init.DataSize = SPI_DATASIZE_8BIT;
  hspi3.Init.CLKPolarity = SPI_POLARITY_LOW;
  hspi3.Init.CLKPhase = SPI_PHASE_1EDGE;
  hspi3.Init.NSS = SPI_NSS_HARD_INPUT;
  hspi3.Init.FirstBit = SPI_FIRSTBIT_MSB;
  hspi3.Init.TIMode = SPI_TIMODE_DISABLE;
  hspi3.Init.CRCCalculation = SPI_CRCCALCULATION_DISABLE;
  hspi3.Init.CRCPolynomial = 10;
  if (HAL_SPI_Init(&hspi3) != HAL_OK)
  {
    Error_Handler();
  }

}

static void MX_TIM1_Init(void)
{

  TIM_MasterConfigTypeDef sMasterConfig = {0};
  TIM_OC_InitTypeDef sConfigOC = {0};
  TIM_BreakDeadTimeConfigTypeDef sBreakDeadTimeConfig = {0};

  htim1.Instance = TIM1;
  htim1.Init.Prescaler = ((TIM_CLOCK_DIVIDER) - 1);
  htim1.Init.CounterMode = TIM_COUNTERMODE_CENTERALIGNED1;
  htim1.Init.Period = ((PWM_PERIOD_CYCLES) / 2);
  htim1.Init.ClockDivision = TIM_CLOCKDIVISION_DIV2;
  htim1.Init.RepetitionCounter = (REP_COUNTER);
  htim1.Init.AutoReloadPreload = TIM_AUTORELOAD_PRELOAD_DISABLE;
  if (HAL_TIM_PWM_Init(&htim1) != HAL_OK)
  {
    Error_Handler();
  }
  sMasterConfig.MasterOutputTrigger = TIM_TRGO_RESET;
  sMasterConfig.MasterSlaveMode = TIM_MASTERSLAVEMODE_DISABLE;
  if (HAL_TIMEx_MasterConfigSynchronization(&htim1, &sMasterConfig) != HAL_OK)
  {
    Error_Handler();
  }
  sConfigOC.OCMode = TIM_OCMODE_PWM1;
  sConfigOC.Pulse = ((PWM_PERIOD_CYCLES) / 4);
  sConfigOC.OCPolarity = TIM_OCPOLARITY_HIGH;
  sConfigOC.OCNPolarity = TIM_OCNPOLARITY_LOW;
  sConfigOC.OCFastMode = TIM_OCFAST_DISABLE;
  sConfigOC.OCIdleState = TIM_OCIDLESTATE_RESET;
  sConfigOC.OCNIdleState = TIM_OCNIDLESTATE_SET;
  if (HAL_TIM_PWM_ConfigChannel(&htim1, &sConfigOC, TIM_CHANNEL_1) != HAL_OK)
  {
    Error_Handler();
  }
  if (HAL_TIM_PWM_ConfigChannel(&htim1, &sConfigOC, TIM_CHANNEL_2) != HAL_OK)
  {
    Error_Handler();
  }
  if (HAL_TIM_PWM_ConfigChannel(&htim1, &sConfigOC, TIM_CHANNEL_3) != HAL_OK)
  {
    Error_Handler();
  }
  sConfigOC.OCMode = TIM_OCMODE_PWM2;
  sConfigOC.Pulse = (((PWM_PERIOD_CYCLES) / 2) - (HTMIN));
  sConfigOC.OCNIdleState = TIM_OCNIDLESTATE_RESET;
  if (HAL_TIM_PWM_ConfigChannel(&htim1, &sConfigOC, TIM_CHANNEL_4) != HAL_OK)
  {
    Error_Handler();
  }
  sBreakDeadTimeConfig.OffStateRunMode = TIM_OSSR_ENABLE;
  sBreakDeadTimeConfig.OffStateIDLEMode = TIM_OSSI_ENABLE;
  sBreakDeadTimeConfig.LockLevel = TIM_LOCKLEVEL_OFF;
  sBreakDeadTimeConfig.DeadTime = ((DEAD_TIME_COUNTS) / 2);
  sBreakDeadTimeConfig.BreakState = TIM_BREAK_ENABLE;
  sBreakDeadTimeConfig.BreakPolarity = TIM_BREAKPOLARITY_LOW;
  sBreakDeadTimeConfig.AutomaticOutput = TIM_AUTOMATICOUTPUT_DISABLE;
  if (HAL_TIMEx_ConfigBreakDeadTime(&htim1, &sBreakDeadTimeConfig) != HAL_OK)
  {
    Error_Handler();
  }
  HAL_TIM_MspPostInit(&htim1);

}

static void MX_TIM2_Init(void)
{

  TIM_Encoder_InitTypeDef sConfig = {0};
  TIM_MasterConfigTypeDef sMasterConfig = {0};

  htim2.Instance = TIM2;
  htim2.Init.Prescaler = 0;
  htim2.Init.CounterMode = TIM_COUNTERMODE_UP;
  htim2.Init.Period = M1_PULSE_NBR;
  htim2.Init.ClockDivision = TIM_CLOCKDIVISION_DIV1;
  htim2.Init.AutoReloadPreload = TIM_AUTORELOAD_PRELOAD_DISABLE;
  sConfig.EncoderMode = TIM_ENCODERMODE_TI12;
  sConfig.IC1Polarity = TIM_ICPOLARITY_RISING;
  sConfig.IC1Selection = TIM_ICSELECTION_DIRECTTI;
  sConfig.IC1Prescaler = TIM_ICPSC_DIV1;
  sConfig.IC1Filter = M1_ENC_IC_FILTER;
  sConfig.IC2Polarity = TIM_ICPOLARITY_RISING;
  sConfig.IC2Selection = TIM_ICSELECTION_DIRECTTI;
  sConfig.IC2Prescaler = TIM_ICPSC_DIV1;
  sConfig.IC2Filter = M1_ENC_IC_FILTER;
  if (HAL_TIM_Encoder_Init(&htim2, &sConfig) != HAL_OK)
  {
    Error_Handler();
  }
  sMasterConfig.MasterOutputTrigger = TIM_TRGO_RESET;
  sMasterConfig.MasterSlaveMode = TIM_MASTERSLAVEMODE_DISABLE;
  if (HAL_TIMEx_MasterConfigSynchronization(&htim2, &sMasterConfig) != HAL_OK)
  {
    Error_Handler();
  }

}

static void MX_TIM3_Init(void)
{

  TIM_Encoder_InitTypeDef sConfig = {0};
  TIM_MasterConfigTypeDef sMasterConfig = {0};

  htim3.Instance = TIM3;
  htim3.Init.Prescaler = 0;
  htim3.Init.CounterMode = TIM_COUNTERMODE_UP;
  htim3.Init.Period = 65535;
  htim3.Init.ClockDivision = TIM_CLOCKDIVISION_DIV1;
  htim3.Init.AutoReloadPreload = TIM_AUTORELOAD_PRELOAD_DISABLE;
  sConfig.EncoderMode = TIM_ENCODERMODE_TI12;
  sConfig.IC1Polarity = TIM_ICPOLARITY_RISING;
  sConfig.IC1Selection = TIM_ICSELECTION_DIRECTTI;
  sConfig.IC1Prescaler = TIM_ICPSC_DIV1;
  sConfig.IC1Filter = 0;
  sConfig.IC2Polarity = TIM_ICPOLARITY_RISING;
  sConfig.IC2Selection = TIM_ICSELECTION_DIRECTTI;
  sConfig.IC2Prescaler = TIM_ICPSC_DIV1;
  sConfig.IC2Filter = 0;
  if (HAL_TIM_Encoder_Init(&htim3, &sConfig) != HAL_OK)
  {
    Error_Handler();
  }
  sMasterConfig.MasterOutputTrigger = TIM_TRGO_RESET;
  sMasterConfig.MasterSlaveMode = TIM_MASTERSLAVEMODE_DISABLE;
  if (HAL_TIMEx_MasterConfigSynchronization(&htim3, &sMasterConfig) != HAL_OK)
  {
    Error_Handler();
  }

}

static void MX_USART2_UART_Init(void)
{

  huart2.Instance = USART2;
  huart2.Init.BaudRate = 921600;
  huart2.Init.WordLength = UART_WORDLENGTH_8B;
  huart2.Init.StopBits = UART_STOPBITS_1;
  huart2.Init.Parity = UART_PARITY_NONE;
  huart2.Init.Mode = UART_MODE_TX_RX;
  huart2.Init.HwFlowCtl = UART_HWCONTROL_NONE;
  huart2.Init.OverSampling = UART_OVERSAMPLING_16;
  if (HAL_UART_Init(&huart2) != HAL_OK)
  {
    Error_Handler();
  }

}

static void MX_DMA_Init(void)
{

  /* DMA controller clock enable */
  __HAL_RCC_DMA1_CLK_ENABLE();

  /* DMA interrupt init */
  /* DMA1_Stream0_IRQn interrupt configuration - SPI3 RX
   * Priority 3 = lower than ADC (priority 2) to avoid preempting FOC */
  HAL_NVIC_SetPriority(DMA1_Stream0_IRQn, 3, 0);
  HAL_NVIC_EnableIRQ(DMA1_Stream0_IRQn);
  /* DMA1_Stream7_IRQn interrupt configuration - SPI3 TX
   * Priority 3 = lower than ADC (priority 2) to avoid preempting FOC */
  HAL_NVIC_SetPriority(DMA1_Stream7_IRQn, 3, 0);
  HAL_NVIC_EnableIRQ(DMA1_Stream7_IRQn);

}

static void MX_GPIO_Init(void)
{
  GPIO_InitTypeDef GPIO_InitStruct = {0};

  /* GPIO Ports Clock Enable */
  __HAL_RCC_GPIOC_CLK_ENABLE();
  __HAL_RCC_GPIOH_CLK_ENABLE();
  __HAL_RCC_GPIOA_CLK_ENABLE();
  __HAL_RCC_GPIOB_CLK_ENABLE();

  /*Configure GPIO pin : Start_Stop_Pin */
  GPIO_InitStruct.Pin = Start_Stop_Pin;
  GPIO_InitStruct.Mode = GPIO_MODE_IT_FALLING;
  GPIO_InitStruct.Pull = GPIO_NOPULL;
  HAL_GPIO_Init(Start_Stop_GPIO_Port, &GPIO_InitStruct);

}

void Error_Handler(void)
{
  __disable_irq();
  while (1)
  {
  }
}
